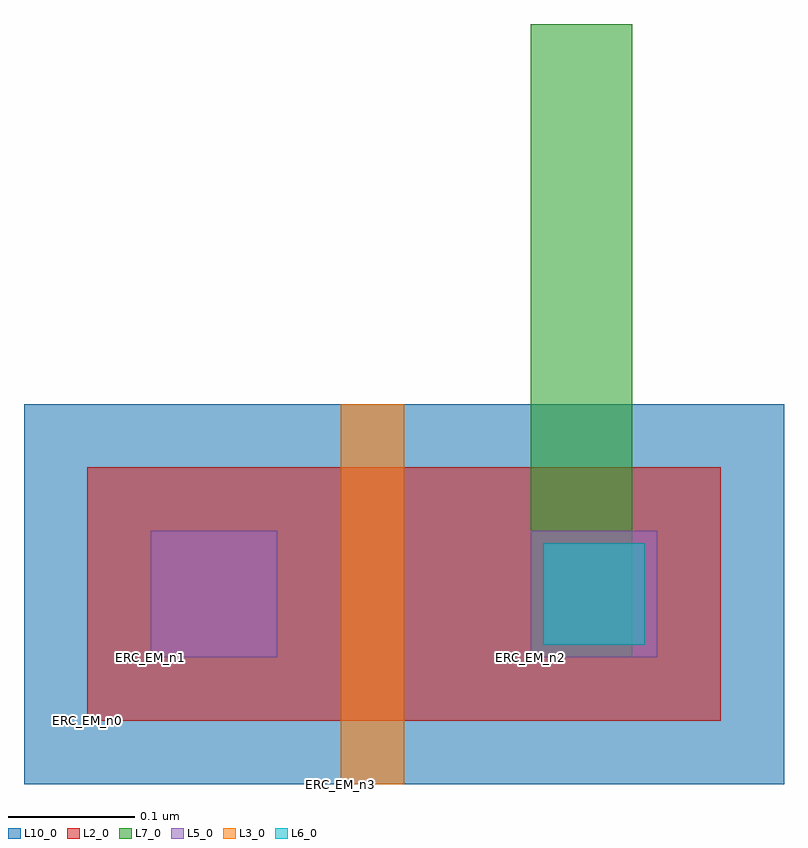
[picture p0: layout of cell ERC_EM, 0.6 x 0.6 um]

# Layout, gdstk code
import gdstk
lib = gdstk.Library(unit=1e-6, precision=1e-09)
def R(c, l, rs):  # rectangles x0, y0, x1, y1
    for r in rs: c.add(gdstk.rectangle(r[:2], r[2:], *l))
L2_0 = (2, 0)
L3_0 = (3, 0)
L5_0 = (5, 0)
L6_0 = (6, 0)
L7_0 = (7, 0)
L10_0 = (10, 0)

erc_em = lib.new_cell('ERC_EM')
R(erc_em, L2_0, [(0,0,0.5,0.2)])
R(erc_em, L3_0, [(0.2,-0.05,0.25,0.25)])
R(erc_em, L5_0, [(0.05,0.05,0.15,0.15), (0.35,0.05,0.45,0.15)])
R(erc_em, L6_0, [(0.36,0.06,0.44,0.14)])
R(erc_em, L7_0, [(0.35,0.05,0.43,0.55)])
R(erc_em, L10_0, [(-0.05,-0.05,0.55,0.25)])
erc_em.add(gdstk.Label('ERC_EM_n0', (0,0), layer=2, texttype=5))
erc_em.add(gdstk.Label('ERC_EM_n1', (0.05,0.05), layer=5, texttype=5))
erc_em.add(gdstk.Label('ERC_EM_n2', (0.35,0.05), layer=5, texttype=5))
erc_em.add(gdstk.Label('ERC_EM_n3', (0.2,-0.05), layer=3, texttype=5))

lib.write_gds('ERC_EM.gds')
